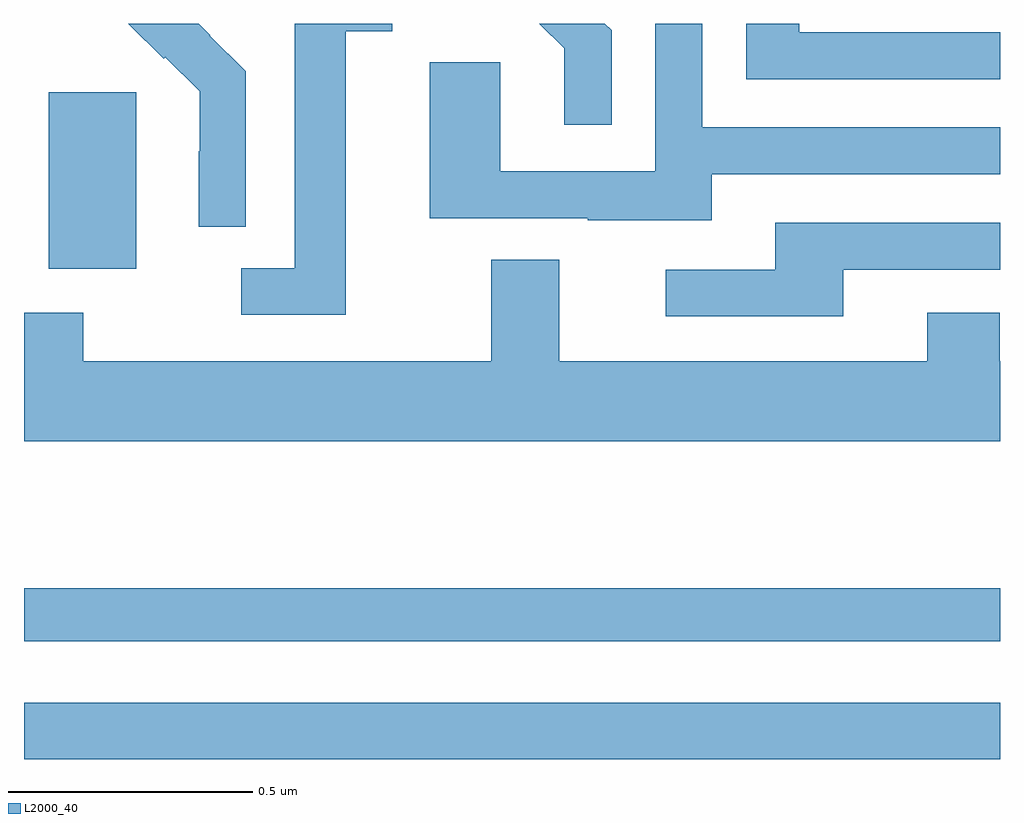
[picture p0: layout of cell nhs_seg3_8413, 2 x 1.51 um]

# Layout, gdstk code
import gdstk
lib = gdstk.Library(unit=1e-6, precision=1e-09)
def R(c, l, rs):  # rectangles x0, y0, x1, y1
    for r in rs: c.add(gdstk.rectangle(r[:2], r[2:], *l))
def P(c, l, *ps):  # polygons
    for p in ps: c.add(gdstk.Polygon(p, *l))
L2000_40 = (2000, 40)

nhs_seg3_8413 = lib.new_cell('nhs_seg3_8413')
R(nhs_seg3_8413, L2000_40, [(215,738.892,217,739.008), (215,739.134,217,739.243), (215.051,739.898,215.23,740.259)])
P(nhs_seg3_8413, L2000_40, [(215.454,740.302),(215.381,740.375),(215.382,740.376),(215.358,740.4),(215.214,740.4),(215.286,740.328),(215.289,740.331),(215.36,740.261),(215.36,740.138),(215.358,740.138),(215.358,739.984),(215.454,739.984)],
  [(217,740.382),(216.589,740.382),(216.589,740.4),(216.48,740.4),(216.48,740.286),(217,740.286)],
  [(216.409,740.091),(217,740.091),(217,740.187),(216.39,740.187),(216.39,740.4),(216.294,740.4),(216.294,740.097),(215.976,740.097),(215.976,740.321),(215.831,740.321),(215.831,740.001),(216.155,740.001),(216.155,739.997),(216.409,739.997)],
  [(215.659,740.384),(215.755,740.384),(215.755,740.4),(215.555,740.4),(215.555,739.899),(215.445,739.899),(215.445,739.803),(215.659,739.803)],
  [(216.204,740.386),(216.19,740.4),(216.056,740.4),(216.107,740.349),(216.107,740.193),(216.204,740.193)],
  [(216.679,739.896),(217,739.896),(217,739.992),(216.539,739.992),(216.539,739.896),(216.315,739.896),(216.315,739.8),(216.679,739.8)],
  [(217,739.708),(216.999,739.708),(216.999,739.807),(216.851,739.807),(216.851,739.708),(216.097,739.708),(216.097,739.916),(215.957,739.916),(215.957,739.708),(215.121,739.708),(215.121,739.807),(215,739.807),(215,739.544),(217,739.544)])

lib.write_gds('nhs_seg3_8413.gds')
